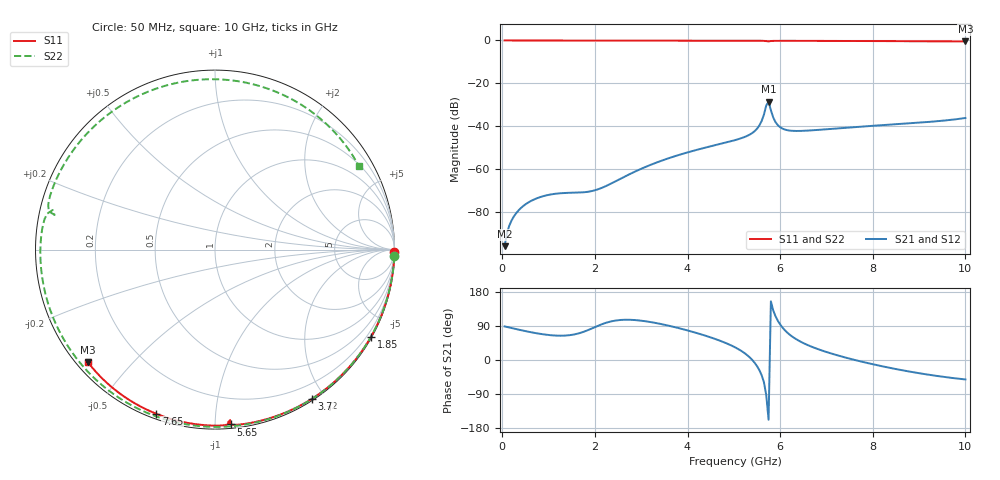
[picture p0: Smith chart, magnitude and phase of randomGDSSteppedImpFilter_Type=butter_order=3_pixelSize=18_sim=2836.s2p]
! freq	dB(S11)	phase(S11)	dB(S12)	phase(S12)
!  dB(S21)	phase(S21)	dB(S22)	phase(S22)
!S-par simulation data
#  GHz  S  DB  R 50
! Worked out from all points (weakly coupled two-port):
!   200 points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, 50 MHz to 10 GHz, reference 50 ohm
!   highest |S21| = -28.61 dB at 5.75 GHz (marker M1); lowest = -95.9 dB at 50 MHz (marker M2)
!   lowest |S11| = -0.5 dB at 10 GHz (marker M3), VSWR 36.07, Z = 1.59 - j19 ohm
!   |S11| at or under -10 dB: nowhere
!   |S22| runs from -0.8 to 0.0 dB; largest |S21 - S12| = 0
!   S11 on the Smith chart (normalised r, x): 50 MHz: open; 1.85 GHz: 0.03, -3.85; 3.7 GHz: 0.02, -1.85; 5.65 GHz: 0.02, -1.09; 7.65 GHz: 0.02, -0.70; 10 GHz: 0.03, -0.38
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0.05  -0.00 -0.8  -95.92 88.6  -95.92 88.6  -0.00 -2.1
0.3  -0.01 -4.8  -80.53 81.5  -80.53 81.5  -0.02 -12.6
0.6  -0.01 -9.6  -75.07 73.7  -75.07 73.7  -0.03 -24.9
0.95  -0.02 -15.1  -72.23 66.7  -72.23 66.7  -0.05 -39.1
1.75  -0.04 -27.6  -70.81 74.1  -70.81 74.1  -0.09 -70.0
1.85  -0.04 -29.1  -70.56 78.8  -70.56 78.8  -0.09 -73.7
2.6  -0.05 -40.6  -63.96 106.0  -63.96 106.0  -0.12 -99.9
3.4  -0.07 -52.5  -56.37 95.6  -56.37 95.6  -0.14 -125.6
3.7  -0.08 -56.9  -54.15 87.5  -54.15 87.5  -0.16 -134.7
5.05  -0.12 -76.0  -46.32 31.9  -46.32 31.9  -0.22 -173.9
5.45  -0.14 -81.6  -42.27 -7.5  -42.27 -7.5  -0.26 174.5
5.55  -0.15 -83.1  -39.67 -26.5  -39.67 -26.5  -0.28 171.4
5.65  -0.19 -84.8  -34.54 -58.8  -34.54 -58.8  -0.39 167.9
5.7  -0.31 -85.7  -30.28 -92.9  -30.28 -92.9  -0.62 166.3
5.75  -0.42 -84.9  -28.61 -157.7  -28.61 -157.7  -0.78 167.8
5.85  -0.20 -86.0  -35.89 131.0  -35.89 131.0  -0.34 165.1
6  -0.17 -88.3  -40.46 93.8  -40.46 93.8  -0.29 160.2
6.7  -0.19 -97.6  -41.89 34.0  -41.89 34.0  -0.33 139.4
7.65  -0.25 -109.7  -40.33 -1.1  -40.33 -1.1  -0.40 110.3
8.35  -0.31 -118.3  -39.29 -20.3  -39.29 -20.3  -0.46 87.6
9.15  -0.38 -128.1  -38.09 -37.8  -38.09 -37.8  -0.54 60.3
10  -0.48 -138.4  -36.15 -51.4  -36.15 -51.4  -0.66 30.2
